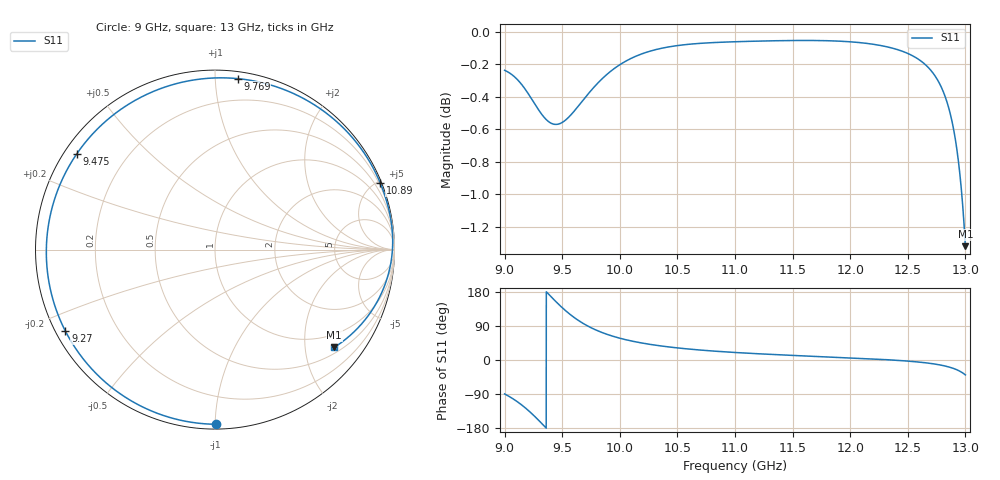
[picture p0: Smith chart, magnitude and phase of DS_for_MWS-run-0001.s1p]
! TOUCHSTONE file generated by CST DESIGN STUDIO
! Date and time: Tue Feb  4 15:42:59 2025
! Project name: C:\Work\MatlabApps\UnitCellOptimizationMatlab\CST\unitcell.cst
! Tree item: Tasks\Sweep1\SPara1\S-Parameters
! Header version: 2024
! Port assignment regex: !\s*Touchstone port\s*([0-9]+)\s*=\s*(CST MWS port|CST DES external port|CST DES block port)\s*(.+)\s* \(\"(.*)\"\)(\s*mode\s*([0-9]+))?.*
! Touchstone port assignment:
! Touchstone port 1 = CST DES external port 1 ("")
# GHz S MA R 50
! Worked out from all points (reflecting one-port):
!   4001 points, 9 GHz to 13 GHz, reference 50 ohm
!   lowest |S11| = -1.3 dB at 13 GHz (marker M1), VSWR 13.19, Z = 31.9 - j133 ohm
!   phase of S11 starts at -90 deg and turns -310 deg over the sweep
!   S11 on the Smith chart (normalised r, x): 9 GHz: 0.03, -1.01; 9.27 GHz: 0.03, -0.25; 9.475 GHz: 0.04, +0.31; 9.769 GHz: 0.05, +1.14; 10.89 GHz: 0.10, +5.17; 13 GHz: 0.64, -2.66
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9  0.9732 -89.5
9.078  0.9692 -103.4
9.145  0.9637 -117.9
9.207  0.9569 -133.5
9.27  0.9492 -151.4
9.321  0.9434 -167.0
9.37  0.9391 177.5
9.42  0.9368 161.7
9.475  0.9369 145.2
9.5  0.9378 138.1
9.558  0.9415 122.9
9.62  0.9469 108.6
9.688  0.9534 95.4
9.769  0.961 82.5
9.878  0.9696 68.9
10  0.977 57.5
10.102  0.9815 50.1
10.217  0.9853 43.5
10.5  0.9904 31.9
10.894  0.9927 21.9
11  0.993 19.9
11.5  0.9939 12.2
12  0.993 5.6
12.5  0.9848 -2.9
12.694  0.9737 -8.9
12.838  0.952 -16.9
12.926  0.9201 -25.8
13  0.8591 -39.4
